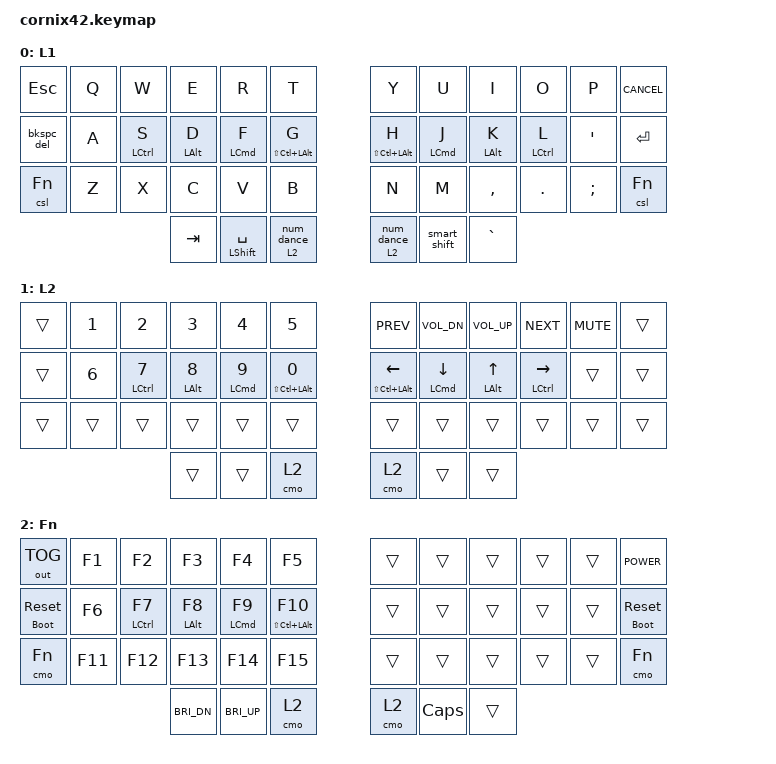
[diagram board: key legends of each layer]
/*
 * Copyright (c) 2020 The ZMK Contributors
 *
 * SPDX-License-Identifier: MIT
 *
 * Knucklehead-style QWERTY layout for Cornix42
 */

#include <behaviors.dtsi>
#include <behaviors/num_word.dtsi>
#include <dt-bindings/zmk/keys.h>
#include <dt-bindings/zmk/bt.h>
#include <dt-bindings/zmk/outputs.h>

// Layers
#define L1 0
#define L2 1
#define Fn 2

// Meh key
#define MEH LS(LC(LALT))

// Behaviors Constants
#define TAPPING_TERM_MS 280
#define QUICK_TAP_MS 175
#define REQUIRE_PRIOR_IDLE_MS 150

// Combos Constants
#define COMBO_TERM_DEFAULT 30
#define COMBO_QUICK_TAP_MS 100

// Key positions per hand (42-key layout)
#define KEYS_L 0 1 2 3 4 5 12 13 14 15 16 17 24 25 26 27 28 29
#define KEYS_R 6 7 8 9 10 11 18 19 20 21 22 23 30 31 32 33 34 35
#define THUMBS 36 37 38 39 40 41

// Combo macro
#define COMBO(NAME, BINDINGS, KEYPOS, LAYERS, TERM, QUICKTAP) \
  combo_##NAME { \
    timeout-ms = <TERM>; \
    bindings = <BINDINGS>; \
    key-positions = <KEYPOS>; \
    layers = <LAYERS>; \
    require-prior-idle-ms = <QUICKTAP>; \
  };

// ==================== Behavior Configurations ====================

&mt {
  flavor = "balanced";
  tapping-term-ms = <TAPPING_TERM_MS>;
  quick-tap-ms = <QUICK_TAP_MS>;
  require-prior-idle-ms = <REQUIRE_PRIOR_IDLE_MS>;
};

&lt {
  flavor = "balanced";
  tapping-term-ms = <TAPPING_TERM_MS>;
  quick-tap-ms = <QUICK_TAP_MS>;
  require-prior-idle-ms = <REQUIRE_PRIOR_IDLE_MS>;
};

&sk {
  quick-release;
};

// num-word: continue on these keys
&num_word {
  continue-list = <BSPC DEL DOT COMMA PLUS MINUS STAR FSLH EQUAL RSHFT LEFT RIGHT UP DOWN>;
};

/ {
  behaviors {
    // Home Row Mods - Left Hand
    /omit-if-no-ref/ hrml: hrm_left {
      bindings = <&kp>, <&kp>;
      compatible = "zmk,behavior-hold-tap";
      flavor = "balanced";
      hold-trigger-key-positions = <KEYS_R THUMBS>;
      hold-trigger-on-release;
      tapping-term-ms = <TAPPING_TERM_MS>;
      quick-tap-ms = <QUICK_TAP_MS>;
      require-prior-idle-ms = <REQUIRE_PRIOR_IDLE_MS>;
      #binding-cells = <2>;
    };

    // Home Row Mods - Right Hand
    /omit-if-no-ref/ hrmr: hrm_right {
      bindings = <&kp>, <&kp>;
      compatible = "zmk,behavior-hold-tap";
      flavor = "balanced";
      hold-trigger-key-positions = <KEYS_L THUMBS>;
      hold-trigger-on-release;
      tapping-term-ms = <TAPPING_TERM_MS>;
      quick-tap-ms = <QUICK_TAP_MS>;
      require-prior-idle-ms = <REQUIRE_PRIOR_IDLE_MS>;
      #binding-cells = <2>;
    };

    // Smart Shift: tap = sticky shift, double-tap = caps-word
    /omit-if-no-ref/ smart_shift: smart_shift {
      compatible = "zmk,behavior-mod-morph";
      bindings = <&sk RSHFT>, <&caps_word>;
      mods = <(MOD_RSFT)>;
      #binding-cells = <0>;
    };

    // Smart Num: tap = num-word dance, hold = mo layer
    /omit-if-no-ref/ smart_num: smart_num {
      compatible = "zmk,behavior-hold-tap";
      flavor = "balanced";
      tapping-term-ms = <TAPPING_TERM_MS>;
      bindings = <&mo>, <&num_dance>;
      #binding-cells = <2>;
    };

    // Num Dance: tap = sl L2, double-tap = num_word
    /omit-if-no-ref/ num_dance: num_dance {
      compatible = "zmk,behavior-tap-dance";
      tapping-term-ms = <TAPPING_TERM_MS>;
      bindings = <&sl L2>, <&num_word L2>;
      #binding-cells = <0>;
    };

    // Backspace/Delete: tap = backspace, shift+tap = delete
    /omit-if-no-ref/ bkspc_del: backspace_delete {
      compatible = "zmk,behavior-mod-morph";
      bindings = <&kp BACKSPACE>, <&kp DELETE>;
      mods = <(MOD_LSFT|MOD_RSFT)>;
      #binding-cells = <0>;
    };

    // Reset/Bootloader: tap = reset, hold = bootloader
    /omit-if-no-ref/ rst_boot: rst_boot {
      compatible = "zmk,behavior-hold-tap";
      #binding-cells = <2>;
      tapping-term-ms = <500>;
      flavor = "tap-preferred";
      bindings = <&bootloader>, <&sys_reset>;
    };
  };

  // ==================== Macros ====================

  macros {
    // Clear sticky layer then activate sticky layer
    /omit-if-no-ref/ csl: clear_sl {
      wait-ms = <0>;
      tap-ms = <0>;
      compatible = "zmk,behavior-macro-one-param";
      #binding-cells = <1>;
      bindings = <&macro_tap &kp K_CANCEL>,
        <&macro_param_1to1>,
        <&macro_press &sl MACRO_PLACEHOLDER>,
        <&macro_pause_for_release>,
        <&macro_param_1to1>,
        <&macro_release &sl MACRO_PLACEHOLDER>;
    };

    // Clear sticky layer then momentary layer
    /omit-if-no-ref/ cmo: clear_mo {
      wait-ms = <0>;
      tap-ms = <0>;
      compatible = "zmk,behavior-macro-one-param";
      #binding-cells = <1>;
      bindings = <&macro_tap &kp K_CANCEL>,
        <&macro_param_1to1>,
        <&macro_press &mo MACRO_PLACEHOLDER>,
        <&macro_pause_for_release>,
        <&macro_param_1to1>,
        <&macro_release &mo MACRO_PLACEHOLDER>;
    };
  };

  // ==================== Combos ====================

  combos {
    compatible = "zmk,combos";
    /*
      KEY POSITIONS
      ╭────────────────────────╮  ╭────────────────────────╮
      │ 0   1   2   3   4   5  │  │ 6   7   8   9   10  11 │
      │ 12  13  14  15  16  17 │  │ 18  19  20  21  22  23 │
      │ 24  25  26  27  28  29 │  │ 30  31  32  33  34  35 │
      ╰───────────╮ 36  37  38 │  │ 39  40  41 ╭───────────╯
                  ╰────────────╯  ╰────────────╯
    */

    // Symbols - Left
    COMBO(excl, &kp EXCL, 1 13, L1 L2, COMBO_TERM_DEFAULT, COMBO_QUICK_TAP_MS)
    COMBO(at, &kp AT, 2 14, L1 L2, COMBO_TERM_DEFAULT, COMBO_QUICK_TAP_MS)
    COMBO(hash, &kp HASH, 3 15, L1 L2, COMBO_TERM_DEFAULT, COMBO_QUICK_TAP_MS)
    COMBO(dollar, &kp DOLLAR, 4 16, L1 L2, COMBO_TERM_DEFAULT, COMBO_QUICK_TAP_MS)
    COMBO(percent, &kp PERCENT, 5 17, L1 L2, COMBO_TERM_DEFAULT, COMBO_QUICK_TAP_MS)
    COMBO(caret, &kp CARET, 13 25, L1 L2, COMBO_TERM_DEFAULT, COMBO_QUICK_TAP_MS)
    COMBO(ampersand, &kp AMPERSAND, 14 26, L1 L2, COMBO_TERM_DEFAULT, COMBO_QUICK_TAP_MS)
    COMBO(star, &kp STAR, 15 27, L1 L2, COMBO_TERM_DEFAULT, COMBO_QUICK_TAP_MS)
    COMBO(lpar, &kp LPAR, 16 28, L1 L2, COMBO_TERM_DEFAULT, COMBO_QUICK_TAP_MS)
    COMBO(rpar, &kp RPAR, 17 29, L1 L2, COMBO_TERM_DEFAULT, COMBO_QUICK_TAP_MS)

    // Symbols - Right
    COMBO(minus, &kp MINUS, 7 19, L1 L2 Fn, COMBO_TERM_DEFAULT, COMBO_QUICK_TAP_MS)
    COMBO(equal, &kp EQUAL, 8 20, L1 L2 Fn, COMBO_TERM_DEFAULT, COMBO_QUICK_TAP_MS)
    COMBO(slash, &kp SLASH, 9 21, L1 L2 Fn, COMBO_TERM_DEFAULT, COMBO_QUICK_TAP_MS)
    COMBO(pgup, &kp PG_UP, 6 18, L1 L2 Fn, COMBO_TERM_DEFAULT, COMBO_QUICK_TAP_MS)
    COMBO(pgdn, &kp PG_DN, 18 30, L1 L2 Fn, COMBO_TERM_DEFAULT, COMBO_QUICK_TAP_MS)
    COMBO(lbkt, &kp LBKT, 19 31, L1 L2 Fn, COMBO_TERM_DEFAULT, COMBO_QUICK_TAP_MS)
    COMBO(rbkt, &kp RBKT, 20 32, L1 L2 Fn, COMBO_TERM_DEFAULT, COMBO_QUICK_TAP_MS)
    COMBO(backslash, &kp BACKSLASH, 21 33, L1 L2 Fn, COMBO_TERM_DEFAULT, COMBO_QUICK_TAP_MS)

    // Bluetooth (Fn layer only)
    COMBO(bt_clear, &bt BT_CLR, 1 2 3 4, Fn, COMBO_TERM_DEFAULT, COMBO_QUICK_TAP_MS)
    COMBO(bt_sel_0, &bt BT_SEL 0, 1 13, Fn, COMBO_TERM_DEFAULT, COMBO_QUICK_TAP_MS)
    COMBO(bt_sel_1, &bt BT_SEL 1, 2 14, Fn, COMBO_TERM_DEFAULT, COMBO_QUICK_TAP_MS)
    COMBO(bt_sel_2, &bt BT_SEL 2, 3 15, Fn, COMBO_TERM_DEFAULT, COMBO_QUICK_TAP_MS)
    COMBO(bt_sel_3, &bt BT_SEL 3, 4 16, Fn, COMBO_TERM_DEFAULT, COMBO_QUICK_TAP_MS)
    COMBO(bt_sel_4, &bt BT_SEL 4, 5 17, Fn, COMBO_TERM_DEFAULT, COMBO_QUICK_TAP_MS)

    // Media
    COMBO(play, &kp C_PP, 6 7, L1 L2 Fn, COMBO_TERM_DEFAULT, COMBO_QUICK_TAP_MS)
  };

  // ==================== Keymap ====================

  keymap {
    compatible = "zmk,keymap";

    // Layer 1: QWERTY Alpha
    qwerty_layer {
      display-name = "L1";
      bindings = <
// ╭───────────────┬───────────────┬───────────────┬───────────────┬───────────────┬───────────────╮   ╭───────────────┬───────────────┬───────────────┬───────────────┬───────────────┬───────────────╮
// │0              │1              │2              │3              │4              │5              │   │6              │7              │8              │9              │10             │11             │
    &kp ESC         &kp Q           &kp W           &kp E           &kp R           &kp T               &kp Y           &kp U           &kp I           &kp O           &kp P           &kp K_CANCEL
// ├───────────────├───────────────┼───────────────┼───────────────┼───────────────┼───────────────┤   ├───────────────├───────────────┼───────────────┼───────────────┼───────────────┼───────────────┤
// │12             │13             │14             │15             │16             │17             │   │18             │19             │20             │21             │22             │23             │
    &bkspc_del      &kp A           &hrml LCTRL S   &hrml LALT D    &hrml LCMD F    &hrml MEH G         &hrmr MEH H     &hrmr LCMD J    &hrmr LALT K    &hrmr LCTRL L   &kp SQT         &kp ENTER
// ├───────────────├───────────────┼───────────────┼───────────────┼───────────────┼───────────────┤   ├───────────────├───────────────┼───────────────┼───────────────┼───────────────┼───────────────┤
// │24             │25             │26             │27             │28             │29             │   │30             │31             │32             │33             │34             │35             │
    &csl Fn         &kp Z           &kp X           &kp C           &kp V           &kp B               &kp N           &kp M           &kp COMMA       &kp DOT         &kp SEMICOLON   &csl Fn
// ╰───────────────┴───────────────┴───────────────┼───────────────┼───────────────┼───────────────┤   ├───────────────├───────────────┼───────────────┼───────────────┴───────────────┴───────────────╯
//                                                 │36             │37             │38             │   │39             │40             │41             │
                                                    &kp TAB         &mt LSHFT SPACE &smart_num L2 0     &smart_num L2 0 &smart_shift    &kp GRAVE
//                                                 ╰───────────────┴───────────────┴───────────────╯   ╰───────────────┴───────────────┴───────────────╯
      >;
    };

    // Layer 2: Numeric, Navigation and Media
    layer_2 {
      display-name = "L2";
      bindings = <
// ╭───────────────┬───────────────┬───────────────┬───────────────┬───────────────┬───────────────╮   ╭───────────────┬───────────────┬───────────────┬───────────────┬───────────────┬───────────────╮
// │0              │1              │2              │3              │4              │5              │   │6              │7              │8              │9              │10             │11             │
    &trans          &kp N1          &kp N2          &kp N3          &kp N4          &kp N5              &kp C_PREV      &kp C_VOL_DN    &kp C_VOL_UP    &kp C_NEXT      &kp C_MUTE      &trans
// ├───────────────├───────────────┼───────────────┼───────────────┼───────────────┼───────────────┤   ├───────────────├───────────────┼───────────────┼───────────────┼───────────────┼───────────────┤
// │12             │13             │14             │15             │16             │17             │   │18             │19             │20             │21             │22             │23             │
    &trans          &kp N6          &hrml LCTRL N7  &hrml LALT N8   &hrml LCMD N9   &hrml MEH N0        &hrmr MEH LEFT  &hrmr LCMD DOWN &hrmr LALT UP   &hrmr LCTRL RIGHT &trans        &trans
// ├───────────────├───────────────┼───────────────┼───────────────┼───────────────┼───────────────┤   ├───────────────├───────────────┼───────────────┼───────────────┼───────────────┼───────────────┤
// │24             │25             │26             │27             │28             │29             │   │30             │31             │32             │33             │34             │35             │
    &trans          &trans          &trans          &trans          &trans          &trans              &trans          &trans          &trans          &trans          &trans          &trans
// ╰───────────────┴───────────────┴───────────────┼───────────────┼───────────────┼───────────────┤   ├───────────────├───────────────┼───────────────┼───────────────┴───────────────┴───────────────╯
//                                                 │36             │37             │38             │   │39             │40             │41             │
                                                    &trans          &trans          &cmo L2             &cmo L2         &trans          &trans
//                                                 ╰───────────────┴───────────────┴───────────────╯   ╰───────────────┴───────────────┴───────────────╯
      >;
    };

    // Layer Fn: Function / System
    fn_layer {
      display-name = "Fn";
      bindings = <
// ╭───────────────┬───────────────┬───────────────┬───────────────┬───────────────┬───────────────╮   ╭───────────────┬───────────────┬───────────────┬───────────────┬───────────────┬───────────────╮
// │0              │1              │2              │3              │4              │5              │   │6              │7              │8              │9              │10             │11             │
    &out OUT_TOG    &kp F1          &kp F2          &kp F3          &kp F4          &kp F5              &trans          &trans          &trans          &trans          &trans          &kp C_POWER
// ├───────────────├───────────────┼───────────────┼───────────────┼───────────────┼───────────────┤   ├───────────────├───────────────┼───────────────┼───────────────┼───────────────┼───────────────┤
// │12             │13             │14             │15             │16             │17             │   │18             │19             │20             │21             │22             │23             │
    &rst_boot 0 0   &kp F6          &hrml LCTRL F7  &hrml LALT F8   &hrml LCMD F9   &hrml MEH F10       &trans          &trans          &trans          &trans          &trans          &rst_boot 0 0
// ├───────────────├───────────────┼───────────────┼───────────────┼───────────────┼───────────────┤   ├───────────────├───────────────┼───────────────┼───────────────┼───────────────┼───────────────┤
// │24             │25             │26             │27             │28             │29             │   │30             │31             │32             │33             │34             │35             │
    &cmo Fn         &kp F11         &kp F12         &kp F13         &kp F14         &kp F15             &trans          &trans          &trans          &trans          &trans          &cmo Fn
// ╰───────────────┴───────────────┴───────────────┼───────────────┼───────────────┼───────────────┤   ├───────────────├───────────────┼───────────────┼───────────────┴───────────────┴───────────────╯
//                                                 │36             │37             │38             │   │39             │40             │41             │
                                                    &kp C_BRI_DN    &kp C_BRI_UP    &cmo L2             &cmo L2         &kp CAPSLOCK    &trans
//                                                 ╰───────────────┴───────────────┴───────────────╯   ╰───────────────┴───────────────┴───────────────╯
      >;
    };
  };
};
